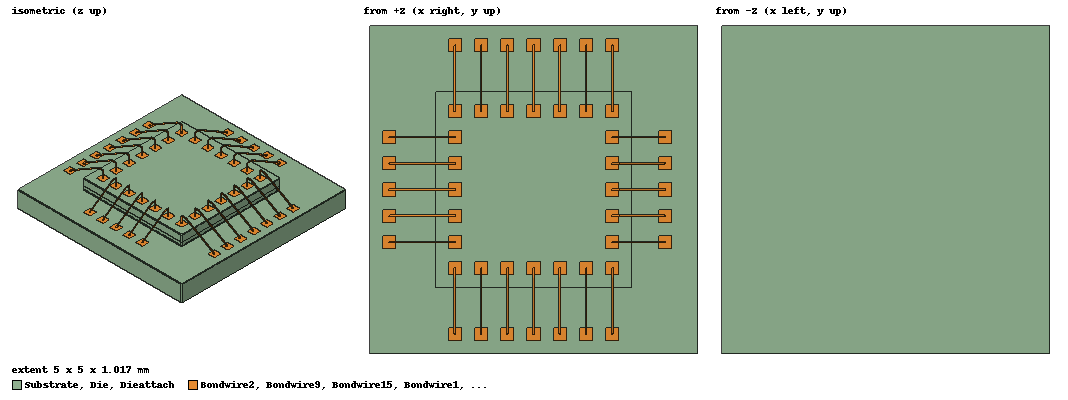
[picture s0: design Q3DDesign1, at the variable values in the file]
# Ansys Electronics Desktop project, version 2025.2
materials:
  vacuum: permittivity=1
  copper: permeability=0.999991 conductivity=58000000
  silicon: permittivity=11.9
  FR4_epoxy: permittivity=4.4 dielectric_loss_tangent=0.02
  modified_epoxy: permittivity=4.2 dielectric_loss_tangent=0.02
  gold: permeability=0.99996 conductivity=41000000
  epoxy_Kevlar_xy: permittivity=3.6

design Q3DDesign1 (Q3D Extractor, model units mm)
options: SParamCalcMethod=EqTransLine Calculate_Lossy_Dielectrics
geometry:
  Die [silicon] = rectangle(corner=(0mm, 0mm, 0mm), x_size=3mm, y_size=3mm)
  Die.thicken(0.2mm)
  Substrate [FR4_epoxy] = rectangle(corner=(-1mm, -1mm, -0.1mm), x_size=5mm, y_size=5mm)
  Substrate.thicken(-0.5mm)
  Dieattach [modified_epoxy] = rectangle(corner=(0mm, 0mm, 0mm), x_size=3mm, y_size=3mm)
  Dieattach.thicken(-0.1mm)
  Diebondpad1 [copper] = rectangle(corner=(0.2mm, 0.2mm, 0.2mm), x_size=0.2mm, y_size=0.2mm)
  Diebondpad1.thicken(0.005mm)
  Substratebondpad1 [copper] = rectangle(corner=(0.2mm, -0.8mm, -0.1mm), x_size=0.2mm, y_size=0.2mm)
  Substratebondpad1.thicken(0.005mm)
  Bondwire1 [gold] = bondwire(WireType=JEDEC_4Points WireDiameter=0.025mm NumSides=6 XPadPos=0.3mm YPadPos=0.3mm ZPadPos=0.205mm XDir=0mm YDir=-1mm ZDir=0mm Distance=1mm h1=0.2mm h2=0.3mm alpha=80deg beta=80deg WhichAxis=Z)
  Diebondpad2 [copper] = rectangle(corner=(0.6mm, 0.2mm, 0.2mm), x_size=0.2mm, y_size=0.2mm)
  Diebondpad2.thicken(0.005mm)
  Substratebondpad2 [copper] = rectangle(corner=(0.6mm, -0.8mm, -0.1mm), x_size=0.2mm, y_size=0.2mm)
  Substratebondpad2.thicken(0.005mm)
  Substratebondpad3 [copper] = rectangle(corner=(1mm, -0.8mm, -0.1mm), x_size=0.2mm, y_size=0.2mm)
  Substratebondpad3.thicken(0.005mm)
  Diebondpad3 [copper] = rectangle(corner=(1mm, 0.2mm, 0.2mm), x_size=0.2mm, y_size=0.2mm)
  Diebondpad3.thicken(0.005mm)
  Diebondpad4 [copper] = rectangle(corner=(1.4mm, 0.2mm, 0.2mm), x_size=0.2mm, y_size=0.2mm)
  Diebondpad4.thicken(0.005mm)
  Substratebondpad4 [copper] = rectangle(corner=(1.4mm, -0.8mm, -0.1mm), x_size=0.2mm, y_size=0.2mm)
  Substratebondpad4.thicken(0.005mm)
  Substratebondpad5 [copper] = rectangle(corner=(1.8mm, -0.8mm, -0.1mm), x_size=0.2mm, y_size=0.2mm)
  Substratebondpad5.thicken(0.005mm)
  Diebondpad5 [copper] = rectangle(corner=(1.8mm, 0.2mm, 0.2mm), x_size=0.2mm, y_size=0.2mm)
  Diebondpad5.thicken(0.005mm)
  Diebondpad6 [copper] = rectangle(corner=(2.2mm, 0.2mm, 0.2mm), x_size=0.2mm, y_size=0.2mm)
  Diebondpad6.thicken(0.005mm)
  Substratebondpad6 [copper] = rectangle(corner=(2.2mm, -0.8mm, -0.1mm), x_size=0.2mm, y_size=0.2mm)
  Substratebondpad6.thicken(0.005mm)
  Substratebondpad7 [copper] = rectangle(corner=(2.6mm, -0.8mm, -0.1mm), x_size=0.2mm, y_size=0.2mm)
  Substratebondpad7.thicken(0.005mm)
  Diebondpad7 [copper] = rectangle(corner=(2.6mm, 0.2mm, 0.2mm), x_size=0.2mm, y_size=0.2mm)
  Diebondpad7.thicken(0.005mm)
  Bondwire2 [gold] = bondwire(WireType=JEDEC_4Points WireDiameter=0.025mm NumSides=6 XPadPos=0.7mm YPadPos=0.3mm ZPadPos=0.205mm XDir=0mm YDir=-1mm ZDir=0mm Distance=1mm h1=0.2mm h2=0.3mm alpha=80deg beta=80deg WhichAxis=Z)
  Bondwire3 [gold] = bondwire(WireType=JEDEC_4Points WireDiameter=0.025mm NumSides=6 XPadPos=1.1mm YPadPos=0.3mm ZPadPos=0.205mm XDir=0mm YDir=-1mm ZDir=0mm Distance=1mm h1=0.2mm h2=0.3mm alpha=80deg beta=80deg WhichAxis=Z)
  Bondwire4 [gold] = bondwire(WireType=JEDEC_4Points WireDiameter=0.025mm NumSides=6 XPadPos=1.5mm YPadPos=0.3mm ZPadPos=0.205mm XDir=0mm YDir=-1mm ZDir=0mm Distance=1mm h1=0.2mm h2=0.3mm alpha=80deg beta=80deg WhichAxis=Z)
  Bondwire5 [gold] = bondwire(WireType=JEDEC_4Points WireDiameter=0.025mm NumSides=6 XPadPos=1.9mm YPadPos=0.3mm ZPadPos=0.205mm XDir=0mm YDir=-1mm ZDir=0mm Distance=1mm h1=0.2mm h2=0.3mm alpha=80deg beta=80deg WhichAxis=Z)
  Bondwire6 [gold] = bondwire(WireType=JEDEC_4Points WireDiameter=0.025mm NumSides=6 XPadPos=2.3mm YPadPos=0.3mm ZPadPos=0.205mm XDir=0mm YDir=-1mm ZDir=0mm Distance=1mm h1=0.2mm h2=0.3mm alpha=80deg beta=80deg WhichAxis=Z)
  Bondwire7 [gold] = bondwire(WireType=JEDEC_4Points WireDiameter=0.025mm NumSides=6 XPadPos=2.7mm YPadPos=0.3mm ZPadPos=0.205mm XDir=0mm YDir=-1mm ZDir=0mm Distance=1mm h1=0.2mm h2=0.3mm alpha=80deg beta=80deg WhichAxis=Z)
  Diebondpad8 [copper] = rectangle(corner=(0.2mm, 2.6mm, 0.2mm), x_size=0.2mm, y_size=0.2mm)
  Diebondpad8.thicken(0.005mm)
  Diebondpad9 [copper] = rectangle(corner=(0.6mm, 2.6mm, 0.2mm), x_size=0.2mm, y_size=0.2mm)
  Diebondpad9.thicken(0.005mm)
  Diebondpad10 [copper] = rectangle(corner=(1mm, 2.6mm, 0.2mm), x_size=0.2mm, y_size=0.2mm)
  Diebondpad10.thicken(0.005mm)
  Diebondpad11 [copper] = rectangle(corner=(1.4mm, 2.6mm, 0.2mm), x_size=0.2mm, y_size=0.2mm)
  Diebondpad11.thicken(0.005mm)
  Diebondpad12 [copper] = rectangle(corner=(1.8mm, 2.6mm, 0.2mm), x_size=0.2mm, y_size=0.2mm)
  Diebondpad12.thicken(0.005mm)
  Diebondpad13 [copper] = rectangle(corner=(2.2mm, 2.6mm, 0.2mm), x_size=0.2mm, y_size=0.2mm)
  Diebondpad13.thicken(0.005mm)
  Diebondpad14 [copper] = rectangle(corner=(2.6mm, 2.6mm, 0.2mm), x_size=0.2mm, y_size=0.2mm)
  Diebondpad14.thicken(0.005mm)
  Substratebondpad8 [copper] = rectangle(corner=(0.2mm, 3.6mm, -0.1mm), x_size=0.2mm, y_size=0.2mm)
  Substratebondpad8.thicken(0.005mm)
  Substratebondpad9 [copper] = rectangle(corner=(0.6mm, 3.6mm, -0.1mm), x_size=0.2mm, y_size=0.2mm)
  Substratebondpad9.thicken(0.005mm)
  Substratebondpad10 [copper] = rectangle(corner=(1mm, 3.6mm, -0.1mm), x_size=0.2mm, y_size=0.2mm)
  Substratebondpad10.thicken(0.005mm)
  Substratebondpad11 [copper] = rectangle(corner=(1.4mm, 3.6mm, -0.1mm), x_size=0.2mm, y_size=0.2mm)
  Substratebondpad11.thicken(0.005mm)
  Substratebondpad12 [copper] = rectangle(corner=(1.8mm, 3.6mm, -0.1mm), x_size=0.2mm, y_size=0.2mm)
  Substratebondpad12.thicken(0.005mm)
  Substratebondpad13 [copper] = rectangle(corner=(2.2mm, 3.6mm, -0.1mm), x_size=0.2mm, y_size=0.2mm)
  Substratebondpad13.thicken(0.005mm)
  Substratebondpad14 [copper] = rectangle(corner=(2.6mm, 3.6mm, -0.1mm), x_size=0.2mm, y_size=0.2mm)
  Substratebondpad14.thicken(0.005mm)
  Bondwire8 [gold] = bondwire(WireType=JEDEC_4Points WireDiameter=0.025mm NumSides=6 XPadPos=0.3mm YPadPos=2.7mm ZPadPos=0.205mm XDir=0mm YDir=1mm ZDir=0mm Distance=1mm h1=0.2mm h2=0.3mm alpha=80deg beta=80deg WhichAxis=Z)
  Bondwire9 [gold] = bondwire(WireType=JEDEC_4Points WireDiameter=0.025mm NumSides=6 XPadPos=0.7mm YPadPos=2.7mm ZPadPos=0.205mm XDir=0mm YDir=1mm ZDir=0mm Distance=1mm h1=0.2mm h2=0.3mm alpha=80deg beta=80deg WhichAxis=Z)
  Bondwire10 [gold] = bondwire(WireType=JEDEC_4Points WireDiameter=0.025mm NumSides=6 XPadPos=1.1mm YPadPos=2.7mm ZPadPos=0.205mm XDir=0mm YDir=1mm ZDir=0mm Distance=1mm h1=0.2mm h2=0.3mm alpha=80deg beta=80deg WhichAxis=Z)
  Bondwire11 [gold] = bondwire(WireType=JEDEC_4Points WireDiameter=0.025mm NumSides=6 XPadPos=1.5mm YPadPos=2.7mm ZPadPos=0.205mm XDir=0mm YDir=1mm ZDir=0mm Distance=1mm h1=0.2mm h2=0.3mm alpha=80deg beta=80deg WhichAxis=Z)
  Bondwire12 [gold] = bondwire(WireType=JEDEC_4Points WireDiameter=0.025mm NumSides=6 XPadPos=1.9mm YPadPos=2.7mm ZPadPos=0.205mm XDir=0mm YDir=1mm ZDir=0mm Distance=1mm h1=0.2mm h2=0.3mm alpha=80deg beta=80deg WhichAxis=Z)
  Bondwire13 [gold] = bondwire(WireType=JEDEC_4Points WireDiameter=0.025mm NumSides=6 XPadPos=2.3mm YPadPos=2.7mm ZPadPos=0.205mm XDir=0mm YDir=1mm ZDir=0mm Distance=1mm h1=0.2mm h2=0.3mm alpha=80deg beta=80deg WhichAxis=Z)
  Bondwire14 [gold] = bondwire(WireType=JEDEC_4Points WireDiameter=0.025mm NumSides=6 XPadPos=2.7mm YPadPos=2.7mm ZPadPos=0.205mm XDir=0mm YDir=1mm ZDir=0mm Distance=1mm h1=0.2mm h2=0.3mm alpha=80deg beta=80deg WhichAxis=Z)
  Diebondpad15 [copper] = rectangle(corner=(0.2mm, 0.6mm, 0.2mm), x_size=0.2mm, y_size=0.2mm)
  Diebondpad15.thicken(0.005mm)
  Substratebondpad15 [copper] = rectangle(corner=(-0.8mm, 0.6mm, -0.1mm), x_size=0.2mm, y_size=0.2mm)
  Substratebondpad15.thicken(0.005mm)
  Diebondpad16 [copper] = rectangle(corner=(0.2mm, 1mm, 0.2mm), x_size=0.2mm, y_size=0.2mm)
  Diebondpad16.thicken(0.005mm)
  Diebondpad17 [copper] = rectangle(corner=(0.2mm, 1.4mm, 0.2mm), x_size=0.2mm, y_size=0.2mm)
  Diebondpad17.thicken(0.005mm)
  Diebondpad18 [copper] = rectangle(corner=(0.2mm, 1.8mm, 0.2mm), x_size=0.2mm, y_size=0.2mm)
  Diebondpad18.thicken(0.005mm)
  Diebondpad19 [copper] = rectangle(corner=(0.2mm, 2.2mm, 0.2mm), x_size=0.2mm, y_size=0.2mm)
  Diebondpad19.thicken(0.005mm)
  Substratebondpad16 [copper] = rectangle(corner=(-0.8mm, 1mm, -0.1mm), x_size=0.2mm, y_size=0.2mm)
  Substratebondpad16.thicken(0.005mm)
  Substratebondpad17 [copper] = rectangle(corner=(-0.8mm, 1.4mm, -0.1mm), x_size=0.2mm, y_size=0.2mm)
  Substratebondpad17.thicken(0.005mm)
  Substratebondpad18 [copper] = rectangle(corner=(-0.8mm, 1.8mm, -0.1mm), x_size=0.2mm, y_size=0.2mm)
  Substratebondpad18.thicken(0.005mm)
  Substratebondpad19 [copper] = rectangle(corner=(-0.8mm, 2.2mm, -0.1mm), x_size=0.2mm, y_size=0.2mm)
  Substratebondpad19.thicken(0.005mm)
  Bondwire15 [gold] = bondwire(WireType=JEDEC_4Points WireDiameter=0.025mm NumSides=6 XPadPos=0.3mm YPadPos=0.7mm ZPadPos=0.205mm XDir=-1mm YDir=0mm ZDir=0mm Distance=1mm h1=0.2mm h2=0.3mm alpha=80deg beta=80deg WhichAxis=Z)
  Bondwire16 [gold] = bondwire(WireType=JEDEC_4Points WireDiameter=0.025mm NumSides=6 XPadPos=0.3mm YPadPos=1.1mm ZPadPos=0.205mm XDir=-1mm YDir=0mm ZDir=0mm Distance=1mm h1=0.2mm h2=0.3mm alpha=80deg beta=80deg WhichAxis=Z)
  Bondwire17 [gold] = bondwire(WireType=JEDEC_4Points WireDiameter=0.025mm NumSides=6 XPadPos=0.3mm YPadPos=1.5mm ZPadPos=0.205mm XDir=-1mm YDir=0mm ZDir=0mm Distance=1mm h1=0.2mm h2=0.3mm alpha=80deg beta=80deg WhichAxis=Z)
  Bondwire18 [gold] = bondwire(WireType=JEDEC_4Points WireDiameter=0.025mm NumSides=6 XPadPos=0.3mm YPadPos=1.9mm ZPadPos=0.205mm XDir=-1mm YDir=0mm ZDir=0mm Distance=1mm h1=0.2mm h2=0.3mm alpha=80deg beta=80deg WhichAxis=Z)
  Bondwire19 [gold] = bondwire(WireType=JEDEC_4Points WireDiameter=0.025mm NumSides=6 XPadPos=0.3mm YPadPos=2.3mm ZPadPos=0.205mm XDir=-1mm YDir=0mm ZDir=0mm Distance=1mm h1=0.2mm h2=0.3mm alpha=80deg beta=80deg WhichAxis=Z)
  Diebondpad20 [copper] = rectangle(corner=(2.6mm, 0.6mm, 0.2mm), x_size=0.2mm, y_size=0.2mm)
  Diebondpad20.thicken(0.005mm)
  Diebondpad21 [copper] = rectangle(corner=(2.6mm, 1mm, 0.2mm), x_size=0.2mm, y_size=0.2mm)
  Diebondpad21.thicken(0.005mm)
  Diebondpad22 [copper] = rectangle(corner=(2.6mm, 1.4mm, 0.2mm), x_size=0.2mm, y_size=0.2mm)
  Diebondpad22.thicken(0.005mm)
  Diebondpad23 [copper] = rectangle(corner=(2.6mm, 1.8mm, 0.2mm), x_size=0.2mm, y_size=0.2mm)
  Diebondpad23.thicken(0.005mm)
  Diebondpad24 [copper] = rectangle(corner=(2.6mm, 2.2mm, 0.2mm), x_size=0.2mm, y_size=0.2mm)
  Diebondpad24.thicken(0.005mm)
  Substratebondpad20 [copper] = rectangle(corner=(3.4mm, 0.6mm, -0.1mm), x_size=0.2mm, y_size=0.2mm)
  Substratebondpad20.thicken(0.005mm)
  Substratebondpad21 [copper] = rectangle(corner=(3.4mm, 1mm, -0.1mm), x_size=0.2mm, y_size=0.2mm)
  Substratebondpad21.thicken(0.005mm)
  Substratebondpad22 [copper] = rectangle(corner=(3.4mm, 1.4mm, -0.1mm), x_size=0.2mm, y_size=0.2mm)
  Substratebondpad22.thicken(0.005mm)
  Substratebondpad23 [copper] = rectangle(corner=(3.4mm, 1.8mm, -0.1mm), x_size=0.2mm, y_size=0.2mm)
  Substratebondpad23.thicken(0.005mm)
  Substratebondpad24 [copper] = rectangle(corner=(3.4mm, 2.2mm, -0.1mm), x_size=0.2mm, y_size=0.2mm)
  Substratebondpad24.thicken(0.005mm)
  Bondwire20 [gold] = bondwire(WireType=JEDEC_4Points WireDiameter=0.025mm NumSides=6 XPadPos=2.7mm YPadPos=0.7mm ZPadPos=0.205mm XDir=0.8mm YDir=0mm ZDir=0mm Distance=0.8mm h1=0.2mm h2=0.3mm alpha=80deg beta=80deg WhichAxis=Z)
  Bondwire21 [gold] = bondwire(WireType=JEDEC_4Points WireDiameter=0.025mm NumSides=6 XPadPos=2.7mm YPadPos=1.1mm ZPadPos=0.205mm XDir=0.8mm YDir=0mm ZDir=0mm Distance=0.8mm h1=0.2mm h2=0.3mm alpha=80deg beta=80deg WhichAxis=Z)
  Bondwire22 [gold] = bondwire(WireType=JEDEC_4Points WireDiameter=0.025mm NumSides=6 XPadPos=2.7mm YPadPos=1.5mm ZPadPos=0.205mm XDir=0.8mm YDir=0mm ZDir=0mm Distance=0.8mm h1=0.2mm h2=0.3mm alpha=80deg beta=80deg WhichAxis=Z)
  Bondwire23 [gold] = bondwire(WireType=JEDEC_4Points WireDiameter=0.025mm NumSides=6 XPadPos=2.7mm YPadPos=1.9mm ZPadPos=0.205mm XDir=0.8mm YDir=0mm ZDir=0mm Distance=0.8mm h1=0.2mm h2=0.3mm alpha=80deg beta=80deg WhichAxis=Z)
  Bondwire24 [gold] = bondwire(WireType=JEDEC_4Points WireDiameter=0.025mm NumSides=6 XPadPos=2.7mm YPadPos=2.3mm ZPadPos=0.205mm XDir=0.8mm YDir=0mm ZDir=0mm Distance=0.8mm h1=0.2mm h2=0.3mm alpha=80deg beta=80deg WhichAxis=Z)
  group Diebondpad_Group = Diebondpad1..Diebondpad24
  group Substratebondpad_Group = Substratebondpad1..Substratebondpad24
